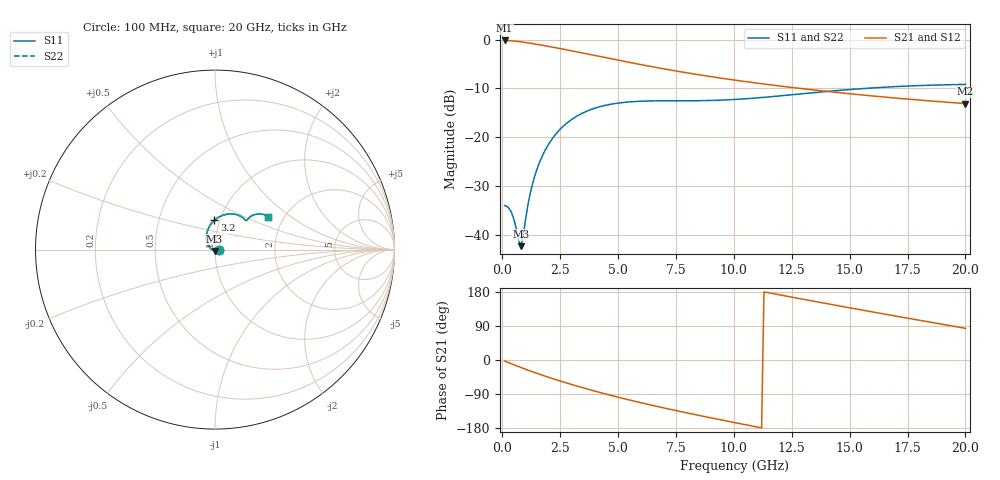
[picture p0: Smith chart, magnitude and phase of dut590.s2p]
! Touchstone file exported from HFSS 2024.1.0
!  File:  C:/UserFiles/LocalFiles/RDL_TSV_Batchsim/temp_RDL_TSV_590_1779759375.aedt
!  Generated:  09:53:49 AM May 26, 2026
!  Design:  RDL_TSV
!  Project:  temp_RDL_TSV_590_1779759375
!  Setup:  Setup1
!  Solution:  Sweep
! Variables:
!  dtsv = 11.69um
!  hbump = 3um
!  htsv = 90.75um
!  ldown = 452.85um
!  lrdl = 641.98um
!  p = 40
!  p1 = 59.96um
!  rhole = 10um
!  subl = 3926.47um
!  t = 450um
!  tdown = 3.05um
!  trdl = 2.25um
!  viad = 10um
!  wdown = 29.3um
!  wrdl = 28.45um
!  xbump = 18um
# GHz S MA R 50.000000
! Terminal data exported
! Port[1] = TM1_1_T1
! Port[2] = TM1_4_T1
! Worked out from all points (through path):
!   200 points, 100 MHz to 20 GHz, reference 50 ohm
!   highest |S21| = -0.18 dB at 100 MHz (marker M1); lowest = -13.1 dB at 20 GHz (marker M2)
!   group delay of S21, straight-line fit = 36.1 ps
!   lowest |S11| = -42.3 dB at 800 MHz (marker M3), VSWR 1.02, Z = 49.7 - j0.718 ohm
!   |S11| at or under -10 dB: start of sweep to 15.66 GHz
!   |S22| runs from -42.3 to -9.2 dB; largest |S21 - S12| = 8.8e-15
!   S11 on the Smith chart (normalised r, x): 100 MHz: 1.04, -0.00; 3.2 GHz: 0.94, +0.32; 20 GHz: 1.67, +0.69
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0.1  0.02002 -3.8  0.979 -2.6  0.979 -2.6  0.02002 -3.8
! Gamma 0 0 0 0
! Port Impedance 50 0 50 0
0.3  0.01868 -15.0  0.9734 -7.7  0.9734 -7.7  0.01868 -15.1
0.4  0.01695 -23.1  0.9693 -10.1  0.9693 -10.1  0.01695 -23.1
0.5  0.01452 -33.4  0.9646 -12.6  0.9646 -12.6  0.01453 -33.4
0.7  0.008868 -71.6  0.9535 -17.4  0.9535 -17.4  0.008884 -71.5
0.8  0.007692 -110.1  0.9472 -19.7  0.9472 -19.7  0.007698 -109.9
0.9  0.009734 -148.9  0.9404 -22.1  0.9404 -22.1  0.009718 -148.7
1.1  0.01988 173.2  0.9258 -26.6  0.9258 -26.6  0.01983 173.2
1.2  0.02621 163.4  0.918 -28.9  0.918 -28.9  0.02615 163.5
1.4  0.04004 149.8  0.9019 -33.3  0.9019 -33.3  0.03995 149.9
1.7  0.06227 135.3  0.8766 -39.6  0.8766 -39.6  0.06214 135.4
2  0.08491 123.9  0.8509 -45.7  0.8509 -45.7  0.08473 124.0
2.3  0.1069 114.3  0.8252 -51.6  0.8252 -51.6  0.1067 114.3
3.2  0.1636 91.3  0.7501 -68.4  0.7501 -68.4  0.1632 91.3
3.5  0.1785 85.2  0.7261 -73.6  0.7261 -73.6  0.178 85.2
5.1  0.2254 61.2  0.6093 -99.7  0.6093 -99.7  0.2247 61.2
6.8  0.2362 47.9  0.5104 -124.1  0.5104 -124.1  0.2355 48.0
8.3  0.2366 43.4  0.4436 -143.8  0.4436 -143.8  0.236 43.6
10.1  0.2443 42.8  0.3828 -166.0  0.3828 -166.0  0.2439 43.0
13.4  0.2854 42.1  0.306 155.6  0.306 155.6  0.2854 42.3
16.7  0.3275 37.1  0.2555 119.1  0.2555 119.1  0.3277 37.2
20  0.3475 31.4  0.2214 83.6  0.2214 83.6  0.3477 31.5
